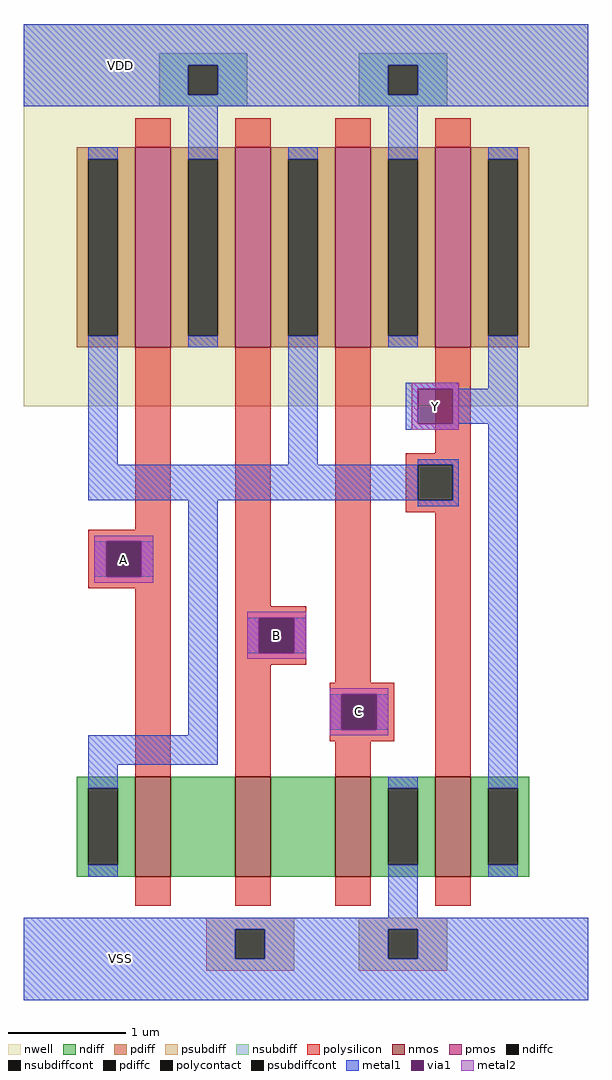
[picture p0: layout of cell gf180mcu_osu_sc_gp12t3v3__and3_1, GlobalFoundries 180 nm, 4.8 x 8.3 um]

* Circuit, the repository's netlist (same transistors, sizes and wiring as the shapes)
** sch_path: /foss/designs/gits/chipathon25-SILICON_BBI-pbiswal/designs/libs/core_digital/gf180mcu_osu_sc_gp12t3v3/cells/and3/gf180mcu_osu_sc_gp12t3v3__and3_1.sch
**.subckt gf180mcu_osu_sc_gp12t3v3__and3_1 A B Y C VDD VSS
*.ipin A
*.ipin B
*.opin Y
*.ipin C
*.iopin VDD
*.iopin VSS
XM1 net1 A VDD VDD pfet_03v3 L=0.3u W=1.7u nf=1 ad='int((nf+1)/2) * W/nf * 0.18u' as='int((nf+2)/2) * W/nf * 0.18u' pd='2*int((nf+1)/2) * (W/nf + 0.18u)'
+ ps='2*int((nf+2)/2) * (W/nf + 0.18u)' nrd='0.18u / W' nrs='0.18u / W' sa=0 sb=0 sd=0 m=1
XM3 net1 B VDD VDD pfet_03v3 L=0.3u W=1.7u nf=1 ad='int((nf+1)/2) * W/nf * 0.18u' as='int((nf+2)/2) * W/nf * 0.18u' pd='2*int((nf+1)/2) * (W/nf + 0.18u)'
+ ps='2*int((nf+2)/2) * (W/nf + 0.18u)' nrd='0.18u / W' nrs='0.18u / W' sa=0 sb=0 sd=0 m=1
XM5 net1 C VDD VDD pfet_03v3 L=0.3u W=1.7u nf=1 ad='int((nf+1)/2) * W/nf * 0.18u' as='int((nf+2)/2) * W/nf * 0.18u' pd='2*int((nf+1)/2) * (W/nf + 0.18u)'
+ ps='2*int((nf+2)/2) * (W/nf + 0.18u)' nrd='0.18u / W' nrs='0.18u / W' sa=0 sb=0 sd=0 m=1
XM6 Y net1 VDD VDD pfet_03v3 L=0.3u W=1.7u nf=1 ad='int((nf+1)/2) * W/nf * 0.18u' as='int((nf+2)/2) * W/nf * 0.18u' pd='2*int((nf+1)/2) * (W/nf + 0.18u)'
+ ps='2*int((nf+2)/2) * (W/nf + 0.18u)' nrd='0.18u / W' nrs='0.18u / W' sa=0 sb=0 sd=0 m=1
XM7 net1 A net2 VSS nfet_03v3 L=0.3u W=0.85u nf=1 ad='int((nf+1)/2) * W/nf * 0.18u' as='int((nf+2)/2) * W/nf * 0.18u' pd='2*int((nf+1)/2) * (W/nf + 0.18u)'
+ ps='2*int((nf+2)/2) * (W/nf + 0.18u)' nrd='0.18u / W' nrs='0.18u / W' sa=0 sb=0 sd=0 m=1
XM8 net2 B net3 VSS nfet_03v3 L=0.3u W=0.85u nf=1 ad='int((nf+1)/2) * W/nf * 0.18u' as='int((nf+2)/2) * W/nf * 0.18u' pd='2*int((nf+1)/2) * (W/nf + 0.18u)'
+ ps='2*int((nf+2)/2) * (W/nf + 0.18u)' nrd='0.18u / W' nrs='0.18u / W' sa=0 sb=0 sd=0 m=1
XM9 net3 C VSS VSS nfet_03v3 L=0.3u W=0.85u nf=1 ad='int((nf+1)/2) * W/nf * 0.18u' as='int((nf+2)/2) * W/nf * 0.18u' pd='2*int((nf+1)/2) * (W/nf + 0.18u)'
+ ps='2*int((nf+2)/2) * (W/nf + 0.18u)' nrd='0.18u / W' nrs='0.18u / W' sa=0 sb=0 sd=0 m=1
XM10 Y net1 VSS VSS nfet_03v3 L=0.3u W=0.85u nf=1 ad='int((nf+1)/2) * W/nf * 0.18u' as='int((nf+2)/2) * W/nf * 0.18u' pd='2*int((nf+1)/2) * (W/nf + 0.18u)'
+ ps='2*int((nf+2)/2) * (W/nf + 0.18u)' nrd='0.18u / W' nrs='0.18u / W' sa=0 sb=0 sd=0 m=1
**.ends
.end

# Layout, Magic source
magic
tech gf180mcuD
<< nwell >>
rect 0 101 96 166
<< nmos >>
rect 19 21 25 38
rect 36 21 42 38
rect 53 21 59 38
rect 70 21 76 38
<< pmos >>
rect 19 111 25 145
rect 36 111 42 145
rect 53 111 59 145
rect 70 111 76 145
<< ndiff >>
rect 9 36 19 38
rect 9 23 11 36
rect 16 23 19 36
rect 9 21 19 23
rect 25 21 36 38
rect 42 21 53 38
rect 59 36 70 38
rect 59 23 62 36
rect 67 23 70 36
rect 59 21 70 23
rect 76 36 86 38
rect 76 23 79 36
rect 84 23 86 36
rect 76 21 86 23
<< pdiff >>
rect 9 143 19 145
rect 9 113 11 143
rect 16 113 19 143
rect 9 111 19 113
rect 25 143 36 145
rect 25 113 28 143
rect 33 113 36 143
rect 25 111 36 113
rect 42 143 53 145
rect 42 113 45 143
rect 50 113 53 143
rect 42 111 53 113
rect 59 143 70 145
rect 59 113 62 143
rect 67 113 70 143
rect 59 111 70 113
rect 76 143 86 145
rect 76 113 79 143
rect 84 113 86 143
rect 76 111 86 113
<< ndiffc >>
rect 11 23 16 36
rect 62 23 67 36
rect 79 23 84 36
<< pdiffc >>
rect 11 113 16 143
rect 28 113 33 143
rect 45 113 50 143
rect 62 113 67 143
rect 79 113 84 143
<< psubdiff >>
rect 31 12 46 14
rect 31 7 36 12
rect 41 7 46 12
rect 31 5 46 7
rect 57 12 72 14
rect 57 7 62 12
rect 67 7 72 12
rect 57 5 72 7
<< nsubdiff >>
rect 23 159 38 161
rect 23 154 28 159
rect 33 154 38 159
rect 23 152 38 154
rect 57 159 72 161
rect 57 154 62 159
rect 67 154 72 159
rect 57 152 72 154
<< psubdiffcont >>
rect 36 7 41 12
rect 62 7 67 12
<< nsubdiffcont >>
rect 28 154 33 159
rect 62 154 67 159
<< polysilicon >>
rect 19 145 25 150
rect 36 145 42 150
rect 53 145 59 150
rect 70 145 76 150
rect 19 80 25 111
rect 11 78 25 80
rect 11 72 14 78
rect 20 72 25 78
rect 11 70 25 72
rect 19 38 25 70
rect 36 67 42 111
rect 36 65 48 67
rect 36 59 40 65
rect 46 59 48 65
rect 36 57 48 59
rect 36 38 42 57
rect 53 54 59 111
rect 70 93 76 111
rect 65 91 76 93
rect 65 85 67 91
rect 73 85 76 91
rect 65 83 76 85
rect 52 52 63 54
rect 52 46 54 52
rect 60 46 63 52
rect 52 44 63 46
rect 53 38 59 44
rect 70 38 76 83
rect 19 16 25 21
rect 36 16 42 21
rect 53 16 59 21
rect 70 16 76 21
<< polycontact >>
rect 14 72 20 78
rect 40 59 46 65
rect 67 85 73 91
rect 54 46 60 52
<< metal1 >>
rect 0 159 96 166
rect 0 154 28 159
rect 33 154 62 159
rect 67 154 96 159
rect 0 152 96 154
rect 11 143 16 145
rect 11 91 16 113
rect 28 143 33 152
rect 28 111 33 113
rect 45 143 50 145
rect 45 91 50 113
rect 62 143 67 152
rect 62 111 67 113
rect 79 143 84 145
rect 65 104 74 105
rect 79 104 84 113
rect 65 98 67 104
rect 73 98 84 104
rect 65 97 74 98
rect 67 91 74 92
rect 11 85 67 91
rect 73 85 74 91
rect 12 72 14 78
rect 20 72 22 78
rect 28 45 33 85
rect 67 84 74 85
rect 38 59 40 65
rect 46 59 48 65
rect 52 46 54 52
rect 60 46 62 52
rect 11 40 33 45
rect 11 36 16 40
rect 11 21 16 23
rect 62 36 67 38
rect 62 14 67 23
rect 79 36 84 98
rect 79 21 84 23
rect 0 12 96 14
rect 0 7 36 12
rect 41 7 62 12
rect 67 7 96 12
rect 0 0 96 7
<< via1 >>
rect 67 98 73 104
rect 14 72 20 78
rect 40 59 46 65
rect 54 46 60 52
<< metal2 >>
rect 66 104 74 105
rect 66 98 67 104
rect 73 98 74 104
rect 66 97 74 98
rect 12 78 22 79
rect 12 72 14 78
rect 20 72 22 78
rect 12 71 22 72
rect 38 65 48 66
rect 38 59 40 65
rect 46 59 48 65
rect 38 58 48 59
rect 52 52 62 53
rect 52 46 54 52
rect 60 46 62 52
rect 52 45 62 46
<< labels >>
flabel metal2 12 71 22 79 0 FreeSans 48 0 0 0 A
port 1 nsew
flabel metal1 9 155 24 163 0 FreeSans 48 0 0 0 VDD
port 5 nsew
flabel metal1 9 3 24 11 0 FreeSans 48 0 0 0 VSS
port 6 nsew
flabel metal2 52 45 62 53 0 FreeSans 48 0 0 0 C
port 4 nsew
flabel metal2 38 58 48 66 0 FreeSans 48 0 0 0 B
port 2 nsew
flabel metal2 66 97 74 105 0 FreeSans 48 0 0 0 Y
port 3 nsew
<< properties >>
string FIXED_BBOX 0 0 96 166
<< end >>
